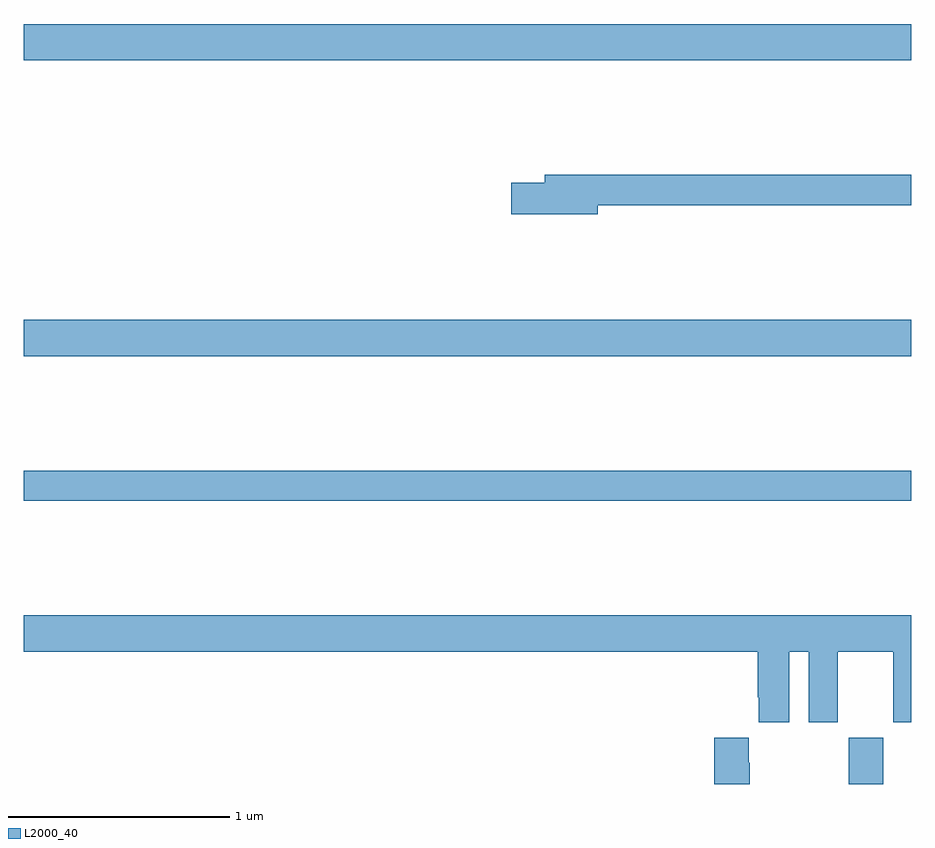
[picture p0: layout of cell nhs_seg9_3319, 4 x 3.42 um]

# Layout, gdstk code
import gdstk
lib = gdstk.Library(unit=1e-6, precision=1e-09)
def R(c, l, rs):  # rectangles x0, y0, x1, y1
    for r in rs: c.add(gdstk.rectangle(r[:2], r[2:], *l))
def P(c, l, *ps):  # polygons
    for p in ps: c.add(gdstk.Polygon(p, *l))
L2000_40 = (2000, 40)

nhs_seg9_3319 = lib.new_cell('nhs_seg9_3319')
R(nhs_seg9_3319, L2000_40, [(304.717,1186.5,304.872,1186.708), (301,1187.776,305,1187.912), (301,1188.428,305,1188.592), (301,1189.76,305,1189.924)])
P(nhs_seg9_3319, L2000_40, [(303.586,1189.108),(305,1189.108),(305,1189.244),(303.347,1189.244),(303.347,1189.208),(303.198,1189.208),(303.198,1189.066),(303.586,1189.066)],
  [(304.45,1187.096),(304.538,1187.096),(304.538,1186.779),(304.669,1186.779),(304.669,1187.096),(304.919,1187.096),(304.919,1186.779),(305,1186.779),(305,1187.26),(301,1187.26),(301,1187.096),(304.307,1187.096),(304.307,1186.891),(304.313,1186.891),(304.313,1186.779),(304.45,1186.779)],
  [(304.272,1186.595),(304.267,1186.595),(304.267,1186.708),(304.112,1186.708),(304.112,1186.5),(304.272,1186.5)])

lib.write_gds('nhs_seg9_3319.gds')
